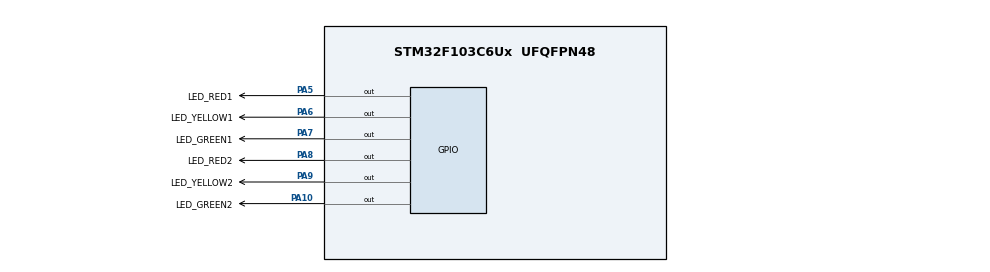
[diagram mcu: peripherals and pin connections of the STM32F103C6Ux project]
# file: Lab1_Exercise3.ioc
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Mcu.Family=STM32F1
Mcu.Name=STM32F103C6Ux
Mcu.Package=UFQFPN48
NVIC.PriorityGroup=NVIC_PRIORITYGROUP_4
PA10.GPIO_Label=LED_GREEN2
PA10.PinState=GPIO_PIN_RESET
PA10.Signal=GPIO_Output
PA5.GPIO_Label=LED_RED1
PA5.PinState=GPIO_PIN_RESET
PA5.Signal=GPIO_Output
PA6.GPIO_Label=LED_YELLOW1
PA6.PinState=GPIO_PIN_RESET
PA6.Signal=GPIO_Output
PA7.GPIO_Label=LED_GREEN1
PA7.PinState=GPIO_PIN_SET
PA7.Signal=GPIO_Output
PA8.GPIO_Label=LED_RED2
PA8.PinState=GPIO_PIN_SET
PA8.Signal=GPIO_Output
PA9.GPIO_Label=LED_YELLOW2
PA9.PinState=GPIO_PIN_RESET
PA9.Signal=GPIO_Output
ProjectManager.HeapSize=0x200
ProjectManager.StackSize=0x400
ProjectManager.TargetToolchain=STM32CubeIDE
RCC.APB1Freq_Value=8000000
RCC.APB2Freq_Value=8000000
VP_SYS_VS_ND.Mode=No_Debug
board=custom

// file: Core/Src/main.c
/* USER CODE BEGIN Header */
/**
  ******************************************************************************
  * @file           : main.c
  * @brief          : Main program body
  ******************************************************************************
  * @attention
  *
  * <h2><center>&copy; Copyright (c) 2026 STMicroelectronics.
  * All rights reserved.</center></h2>
  *
  * This software component is licensed by ST under BSD 3-Clause license,
  * the "License"; You may not use this file except in compliance with the
  * License. You may obtain a copy of the License at:
  *                        opensource.org/licenses/BSD-3-Clause
  *
  ******************************************************************************
  */
/* USER CODE END Header */
#include "main.h"

/* USER CODE BEGIN PV */
uint8_t state_ex3 = 0;
uint8_t timer_ex3 = 0;
/* USER CODE END PV */

void SystemClock_Config(void);
static void MX_GPIO_Init(void);

/* USER CODE BEGIN 0 */
void EX3_RUN(void)
{
    timer_ex3++;

    switch (state_ex3)
    {
        case 0:     // Group 1: GREEN, Group 2: RED
            if (timer_ex3 >= 3)
            {
                // Group 1 -> YELLOW
                HAL_GPIO_WritePin(LED_GREEN1_GPIO_Port, LED_GREEN1_Pin, GPIO_PIN_RESET);
                HAL_GPIO_WritePin(LED_YELLOW1_GPIO_Port, LED_YELLOW1_Pin, GPIO_PIN_SET);

                // Group 2 remains RED

                state_ex3 = 1;
                timer_ex3 = 0;
            }
            break;

        case 1:     // Group 1: YELLOW, Group 2: RED
            if (timer_ex3 >= 2)
            {
                // Group 1 -> RED
                HAL_GPIO_WritePin(LED_YELLOW1_GPIO_Port, LED_YELLOW1_Pin, GPIO_PIN_RESET);
                HAL_GPIO_WritePin(LED_RED1_GPIO_Port, LED_RED1_Pin, GPIO_PIN_SET);

                // Group 2 -> GREEN
                HAL_GPIO_WritePin(LED_RED2_GPIO_Port, LED_RED2_Pin, GPIO_PIN_RESET);
                HAL_GPIO_WritePin(LED_GREEN2_GPIO_Port, LED_GREEN2_Pin, GPIO_PIN_SET);

                state_ex3 = 2;
                timer_ex3 = 0;
            }
            break;

        case 2:     // Group 1: RED, Group 2: GREEN
            if (timer_ex3 >= 3)
            {
                // Group 2 -> YELLOW
                HAL_GPIO_WritePin(LED_GREEN2_GPIO_Port, LED_GREEN2_Pin, GPIO_PIN_RESET);
                HAL_GPIO_WritePin(LED_YELLOW2_GPIO_Port, LED_YELLOW2_Pin, GPIO_PIN_SET);

                // Group 1 remains RED

                state_ex3 = 3;
                timer_ex3 = 0;
            }
            break;

        case 3:     // Group 1: RED, Group 2: YELLOW
            if (timer_ex3 >= 2)
            {
                // Group 2 -> RED
                HAL_GPIO_WritePin(LED_YELLOW2_GPIO_Port, LED_YELLOW2_Pin, GPIO_PIN_RESET);
                HAL_GPIO_WritePin(LED_RED2_GPIO_Port, LED_RED2_Pin, GPIO_PIN_SET);

                // Group 1 -> GREEN
                HAL_GPIO_WritePin(LED_RED1_GPIO_Port, LED_RED1_Pin, GPIO_PIN_RESET);
                HAL_GPIO_WritePin(LED_GREEN1_GPIO_Port, LED_GREEN1_Pin, GPIO_PIN_SET);

                state_ex3 = 0;
                timer_ex3 = 0;
            }
            break;
    }
}
/* USER CODE END 0 */

int main(void)
{

  /* MCU Configuration--------------------------------------------------------*/

  /* Reset of all peripherals, Initializes the Flash interface and the Systick. */
  HAL_Init();

  /* Configure the system clock */
  SystemClock_Config();

  /* Initialize all configured peripherals */
  MX_GPIO_Init();

  /* Infinite loop */
  while (1)
  {
	  HAL_Delay(1000);
	  EX3_RUN();
  }
}

void SystemClock_Config(void)
{
  RCC_OscInitTypeDef RCC_OscInitStruct = {0};
  RCC_ClkInitTypeDef RCC_ClkInitStruct = {0};

  /** Initializes the RCC Oscillators according to the specified parameters
  * in the RCC_OscInitTypeDef structure.
  */
  RCC_OscInitStruct.OscillatorType = RCC_OSCILLATORTYPE_HSI;
  RCC_OscInitStruct.HSIState = RCC_HSI_ON;
  RCC_OscInitStruct.HSICalibrationValue = RCC_HSICALIBRATION_DEFAULT;
  RCC_OscInitStruct.PLL.PLLState = RCC_PLL_NONE;
  if (HAL_RCC_OscConfig(&RCC_OscInitStruct) != HAL_OK)
  {
    Error_Handler();
  }
  /** Initializes the CPU, AHB and APB buses clocks
  */
  RCC_ClkInitStruct.ClockType = RCC_CLOCKTYPE_HCLK|RCC_CLOCKTYPE_SYSCLK
                              |RCC_CLOCKTYPE_PCLK1|RCC_CLOCKTYPE_PCLK2;
  RCC_ClkInitStruct.SYSCLKSource = RCC_SYSCLKSOURCE_HSI;
  RCC_ClkInitStruct.AHBCLKDivider = RCC_SYSCLK_DIV1;
  RCC_ClkInitStruct.APB1CLKDivider = RCC_HCLK_DIV1;
  RCC_ClkInitStruct.APB2CLKDivider = RCC_HCLK_DIV1;

  if (HAL_RCC_ClockConfig(&RCC_ClkInitStruct, FLASH_LATENCY_0) != HAL_OK)
  {
    Error_Handler();
  }
}

static void MX_GPIO_Init(void)
{
  GPIO_InitTypeDef GPIO_InitStruct = {0};

  /* GPIO Ports Clock Enable */
  __HAL_RCC_GPIOA_CLK_ENABLE();

  /*Configure GPIO pin Output Level */
  HAL_GPIO_WritePin(GPIOA, LED_RED1_Pin|LED_YELLOW1_Pin|LED_YELLOW2_Pin|LED_GREEN2_Pin, GPIO_PIN_RESET);

  /*Configure GPIO pin Output Level */
  HAL_GPIO_WritePin(GPIOA, LED_GREEN1_Pin|LED_RED2_Pin, GPIO_PIN_SET);

  /*Configure GPIO pins : LED_RED1_Pin LED_YELLOW1_Pin LED_GREEN1_Pin LED_RED2_Pin
                           LED_YELLOW2_Pin LED_GREEN2_Pin */
  GPIO_InitStruct.Pin = LED_RED1_Pin|LED_YELLOW1_Pin|LED_GREEN1_Pin|LED_RED2_Pin
                          |LED_YELLOW2_Pin|LED_GREEN2_Pin;
  GPIO_InitStruct.Mode = GPIO_MODE_OUTPUT_PP;
  GPIO_InitStruct.Pull = GPIO_NOPULL;
  GPIO_InitStruct.Speed = GPIO_SPEED_FREQ_LOW;
  HAL_GPIO_Init(GPIOA, &GPIO_InitStruct);

}

void Error_Handler(void)
{
  __disable_irq();
  while (1)
  {
  }
}

/************************ (C) COPYRIGHT STMicroelectronics *****END OF FILE****/
